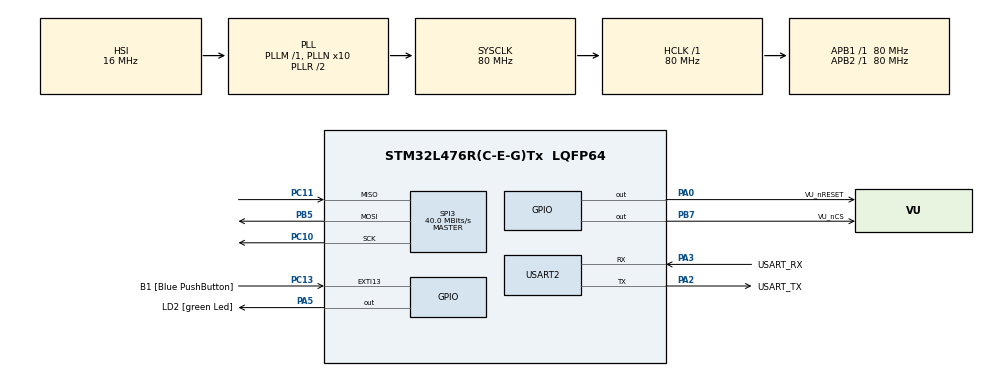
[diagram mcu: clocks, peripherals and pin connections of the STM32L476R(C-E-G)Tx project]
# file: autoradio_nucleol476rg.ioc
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FREERTOS.Tasks01=defaultTask,0,128,StartDefaultTask,Default,NULL,Dynamic,NULL,NULL
FREERTOS.configTOTAL_HEAP_SIZE=10000
Mcu.Family=STM32L4
Mcu.Name=STM32L476R(C-E-G)Tx
Mcu.Package=LQFP64
NVIC.PriorityGroup=NVIC_PRIORITYGROUP_4
NVIC.USART2_IRQn=true\:5\:0\:false\:false\:true\:true\:true\:true\:true
PA0.GPIO_Label=VU_nRESET
PA0.PinState=GPIO_PIN_SET
PA0.Signal=GPIO_Output
PA13\ (JTMS-SWDIO).GPIO_Label=TMS
PA13\ (JTMS-SWDIO).Mode=Serial_Wire
PA13\ (JTMS-SWDIO).Signal=SYS_JTMS-SWDIO
PA14\ (JTCK-SWCLK).GPIO_Label=TCK
PA14\ (JTCK-SWCLK).Mode=Serial_Wire
PA14\ (JTCK-SWCLK).Signal=SYS_JTCK-SWCLK
PA2.GPIO_Label=USART_TX
PA2.GPIO_Mode=GPIO_MODE_AF_PP
PA2.GPIO_PuPd=GPIO_NOPULL
PA2.GPIO_Speed=GPIO_SPEED_FREQ_VERY_HIGH
PA2.Mode=Asynchronous
PA2.Signal=USART2_TX
PA3.GPIO_Label=USART_RX
PA3.GPIO_Mode=GPIO_MODE_AF_PP
PA3.GPIO_PuPd=GPIO_NOPULL
PA3.GPIO_Speed=GPIO_SPEED_FREQ_VERY_HIGH
PA3.Mode=Asynchronous
PA3.Signal=USART2_RX
PA5.GPIO_Label=LD2 [green Led]
PA5.GPIO_ModeDefaultOutputPP=GPIO_MODE_OUTPUT_PP
PA5.GPIO_PuPd=GPIO_NOPULL
PA5.GPIO_Speed=GPIO_SPEED_FREQ_LOW
PA5.Signal=GPIO_Output
PB3\ (JTDO-TRACESWO).GPIO_Label=SWO
PB3\ (JTDO-TRACESWO).Signal=SYS_JTDO-SWO
PB5.Mode=Full_Duplex_Master
PB5.Signal=SPI3_MOSI
PB7.GPIO_Label=VU_nCS
PB7.PinState=GPIO_PIN_SET
PB7.Signal=GPIO_Output
PC10.Mode=Full_Duplex_Master
PC10.Signal=SPI3_SCK
PC11.Mode=Full_Duplex_Master
PC11.Signal=SPI3_MISO
PC13.GPIO_Label=B1 [Blue PushButton]
PC13.GPIO_ModeDefaultEXTI=GPIO_MODE_IT_FALLING
PC13.GPIO_PuPd=GPIO_NOPULL
PC13.Signal=GPXTI13
PC14-OSC32_IN\ (PC14).Mode=LSE-External-Oscillator
PC14-OSC32_IN\ (PC14).Signal=RCC_OSC32_IN
PC15-OSC32_OUT\ (PC15).Mode=LSE-External-Oscillator
PC15-OSC32_OUT\ (PC15).Signal=RCC_OSC32_OUT
PH0-OSC_IN\ (PH0).Signal=RCC_OSC_IN
PH1-OSC_OUT\ (PH1).Signal=RCC_OSC_OUT
ProjectManager.HeapSize=0x200
ProjectManager.StackSize=0x400
ProjectManager.TargetToolchain=STM32CubeIDE
RCC.ADCFreq_Value=64000000
RCC.AHBFreq_Value=80000000
RCC.APB1Freq_Value=80000000
RCC.APB1TimFreq_Value=80000000
RCC.APB2Freq_Value=80000000
RCC.APB2TimFreq_Value=80000000
RCC.CortexFreq_Value=80000000
RCC.HCLKFreq_Value=80000000
RCC.HSE_VALUE=8000000
RCC.HSI_VALUE=16000000
RCC.MSI_VALUE=4000000
RCC.PLLN=10
RCC.PLLSourceVirtual=RCC_PLLSOURCE_HSI
RCC.PREFETCH_ENABLE=1
RCC.SYSCLKFreq_VALUE=80000000
RCC.SYSCLKSource=RCC_SYSCLKSOURCE_PLLCLK
RCC.USBFreq_Value=64000000
RCC.VCOOutputFreq_Value=160000000
SPI3.CalculateBaudRate=40.0 MBits/s
SPI3.DataSize=SPI_DATASIZE_8BIT
SPI3.Direction=SPI_DIRECTION_2LINES
SPI3.Mode=SPI_MODE_MASTER
SPI3.VirtualType=VM_MASTER
USART2.VirtualMode-Asynchronous=VM_ASYNC
VP_FREERTOS_VS_CMSIS_V1.Mode=CMSIS_V1
board=NUCLEO-L476RG

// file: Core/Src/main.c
/* USER CODE BEGIN Header */
/**
 ******************************************************************************
 * @file           : main.c
 * @brief          : Main program body
 ******************************************************************************
 * @attention
 *
 * Copyright (c) 2025 STMicroelectronics.
 * All rights reserved.
 *
 * This software is licensed under terms that can be found in the LICENSE file
 * in the root directory of this software component.
 * If no LICENSE file comes with this software, it is provided AS-IS.
 *
 ******************************************************************************
 */
/* USER CODE END Header */
#include "main.h"
#include "cmsis_os.h"
#include "spi.h"
#include "usart.h"
#include "gpio.h"

/* USER CODE BEGIN Includes */
#include "shell.h" //Include the shell file
#include <stdio.h> //Include to work with printf function
#include <stdlib.h> //Include to use atoi function
#include "drv_uart.h" //Include UART dirver
/* USER CODE END Includes */

/* USER CODE BEGIN PD */
#define STACK_DEPTH 256

#define GPIO_EXPANDER_ADDRESS 0b01000000 //Address and LSB is '0' for SPI write operation
/* USER CODE END PD */

/* USER CODE BEGIN PV */
TaskHandle_t h_task_shell; //handler for the shell task
h_shell_t h_shell;
shell_func_pointer_t pfunc;
/* USER CODE END PV */

void SystemClock_Config(void);
void MX_FREERTOS_Init(void);

/* USER CODE BEGIN 0 */
int __io_putchar(int chr) //Function to use the printf function to send with UART
{
	HAL_UART_Transmit(&huart2, (uint8_t*)&chr, 1, HAL_MAX_DELAY);
	return chr;
}

int fonction(h_shell_t * h_shell, int argc, char ** argv) //Function of the shell
{

	int size = snprintf (h_shell->print_buffer, BUFFER_SIZE, "Je suis une fonction bidon\r\n");
	h_shell->drv.transmit(h_shell->print_buffer, size);

	size = snprintf (h_shell->print_buffer, BUFFER_SIZE, "argc : %d\r\n", argc);
	h_shell->drv.transmit(h_shell->print_buffer, size);

	for(int i = 0; i < argc; i++)
	{
		size = snprintf (h_shell->print_buffer, BUFFER_SIZE, "argc[%d] : %s \r\n", i, argv[i]);
		h_shell->drv.transmit(h_shell->print_buffer, size);
	}

	return 0;
}

int add_2_num(h_shell_t * h_shell, int argc, char ** argv)
{
	if(argc == 3)
	{
		int sum = atoi(argv[1]) + atoi(argv[2]);
		//printf("La somme est : %d \r\n", sum);
		int size = snprintf (h_shell->print_buffer, BUFFER_SIZE, "La somme est : %d \r\n", sum);
		h_shell->drv.transmit(h_shell->print_buffer, size);
	}

	return 0;
}

void write_spi(uint8_t reg, uint8_t value)
{

	uint8_t tx_data[3] = { GPIO_EXPANDER_ADDRESS, reg, value };
	HAL_GPIO_WritePin(VU_nCS_GPIO_Port, VU_nCS_Pin, GPIO_PIN_RESET);
	HAL_SPI_Transmit(&hspi3, tx_data, 3, HAL_MAX_DELAY);
	HAL_GPIO_WritePin(VU_nCS_GPIO_Port, VU_nCS_Pin, GPIO_PIN_SET);
	//HAL_Delay(100);
}

void mcp23s17_init()
{
	//write_spi(0x05, 0b10110000);
	write_spi(0x05, 0xB0);

	write_spi(0x00, 0x00);
	write_spi(0x10, 0x00);

	write_spi(0x0A, 0xFF);
	write_spi(0x1A, 0xFF);
}

int led(h_shell_t * h_shell, int argc, char ** argv)
{
	int size = snprintf (h_shell->print_buffer, BUFFER_SIZE, "FUNCION LED\r\n");
	h_shell->drv.transmit(h_shell->print_buffer, size);

while(1){
	write_spi(0x0A, 0xFE);
	HAL_Delay(200);
	write_spi(0x0A, 0xFD);
	HAL_Delay(200);
	write_spi(0x0A, 0xFB);
	HAL_Delay(200);
	write_spi(0x0A, 0xF7);
	HAL_Delay(200);

	write_spi(0x0A, 0xEF);
	HAL_Delay(200);
	write_spi(0x0A, 0xDF);
	HAL_Delay(200);
	write_spi(0x0A, 0xBF);
	HAL_Delay(200);
	write_spi(0x0A, 0x7F);
	HAL_Delay(200);

	write_spi(0x0A, 0xFF);

	write_spi(0x1A, 0xFE);
	HAL_Delay(200);
	write_spi(0x1A, 0xFD);
	HAL_Delay(200);
	write_spi(0x1A, 0xFB);
	HAL_Delay(200);
	write_spi(0x1A, 0xF7);
	HAL_Delay(200);

	write_spi(0x1A, 0xEF);
	HAL_Delay(200);
	write_spi(0x1A, 0xDF);
	HAL_Delay(200);
	write_spi(0x1A, 0xBF);
	HAL_Delay(200);
	write_spi(0x1A, 0x7F);
	HAL_Delay(200);

	write_spi(0x1A, 0xFF);
}
	/*for(uint8_t i = 0xFF; i > 0x00; i-=2)
	{
		write_spi(0x1A, i);
		HAL_Delay(100);
	}*/

	return 0;
}

void task_shell(void * unused)
{
	shell_init(&h_shell);
	shell_add(&h_shell, 'f', fonction, "Une fonction inutile");
	shell_add(&h_shell, 'a', add_2_num, "Fonction pour additionner deux nom\r\n");
	shell_add(&h_shell, 'l', led, "Function pour allumer une LED");
	shell_run(&h_shell);
}

//Callback of USART interruption
void HAL_UART_RxCpltCallback(UART_HandleTypeDef *huart)
{
	//Here we should unlock the task
	if(huart->Instance == USART2)
	{
		//Function to unlock the task
		shell_uart_rx_callback();
	}

}

/* USER CODE END 0 */

int main(void)
{

	/* MCU Configuration--------------------------------------------------------*/

	/* Reset of all peripherals, Initializes the Flash interface and the Systick. */
	HAL_Init();

	/* Configure the system clock */
	SystemClock_Config();

	/* Initialize all configured peripherals */
	MX_GPIO_Init();
	MX_USART2_UART_Init();
	MX_SPI3_Init();
	/* USER CODE BEGIN 2 */
	h_shell.drv.receive = drv_uart_receive;
	h_shell.drv.transmit = drv_uart_transmit;
	mcp23s17_init();

	printf("\r\n===== TEST SHELL =====\r\n");

	if( xTaskCreate(task_shell, "Task Shell", STACK_DEPTH, NULL, 1, &h_task_shell) != pdPASS)
	{
		printf("Error creating the shell task \r\n");
		Error_Handler();
	}

	vTaskStartScheduler();

	/* USER CODE END 2 */

	/* Call init function for freertos objects (in cmsis_os2.c) */
	MX_FREERTOS_Init();

	/* Start scheduler */
	osKernelStart();

	/* We should never get here as control is now taken by the scheduler */

	/* Infinite loop */
	while (1)
	{

	}
}

void SystemClock_Config(void)
{
	RCC_OscInitTypeDef RCC_OscInitStruct = {0};
	RCC_ClkInitTypeDef RCC_ClkInitStruct = {0};

	/** Configure the main internal regulator output voltage
	 */
	if (HAL_PWREx_ControlVoltageScaling(PWR_REGULATOR_VOLTAGE_SCALE1) != HAL_OK)
	{
		Error_Handler();
	}

	/** Initializes the RCC Oscillators according to the specified parameters
	 * in the RCC_OscInitTypeDef structure.
	 */
	RCC_OscInitStruct.OscillatorType = RCC_OSCILLATORTYPE_HSI;
	RCC_OscInitStruct.HSIState = RCC_HSI_ON;
	RCC_OscInitStruct.HSICalibrationValue = RCC_HSICALIBRATION_DEFAULT;
	RCC_OscInitStruct.PLL.PLLState = RCC_PLL_ON;
	RCC_OscInitStruct.PLL.PLLSource = RCC_PLLSOURCE_HSI;
	RCC_OscInitStruct.PLL.PLLM = 1;
	RCC_OscInitStruct.PLL.PLLN = 10;
	RCC_OscInitStruct.PLL.PLLP = RCC_PLLP_DIV7;
	RCC_OscInitStruct.PLL.PLLQ = RCC_PLLQ_DIV2;
	RCC_OscInitStruct.PLL.PLLR = RCC_PLLR_DIV2;
	if (HAL_RCC_OscConfig(&RCC_OscInitStruct) != HAL_OK)
	{
		Error_Handler();
	}

	/** Initializes the CPU, AHB and APB buses clocks
	 */
	RCC_ClkInitStruct.ClockType = RCC_CLOCKTYPE_HCLK|RCC_CLOCKTYPE_SYSCLK
			|RCC_CLOCKTYPE_PCLK1|RCC_CLOCKTYPE_PCLK2;
	RCC_ClkInitStruct.SYSCLKSource = RCC_SYSCLKSOURCE_PLLCLK;
	RCC_ClkInitStruct.AHBCLKDivider = RCC_SYSCLK_DIV1;
	RCC_ClkInitStruct.APB1CLKDivider = RCC_HCLK_DIV1;
	RCC_ClkInitStruct.APB2CLKDivider = RCC_HCLK_DIV1;

	if (HAL_RCC_ClockConfig(&RCC_ClkInitStruct, FLASH_LATENCY_4) != HAL_OK)
	{
		Error_Handler();
	}
}

void Error_Handler(void)
{
	__disable_irq();
	while (1)
	{
	}
}
